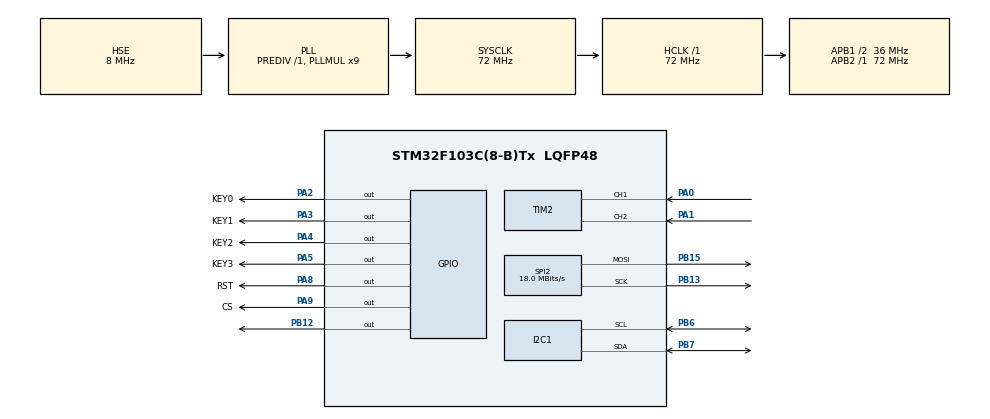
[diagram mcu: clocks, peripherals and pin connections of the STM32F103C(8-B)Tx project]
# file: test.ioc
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Dma.Request0=SPI2_TX
Dma.SPI2_TX.0.Direction=DMA_MEMORY_TO_PERIPH
Dma.SPI2_TX.0.Instance=DMA1_Channel5
Dma.SPI2_TX.0.MemDataAlignment=DMA_MDATAALIGN_BYTE
Dma.SPI2_TX.0.MemInc=DMA_MINC_ENABLE
Dma.SPI2_TX.0.Mode=DMA_NORMAL
Dma.SPI2_TX.0.PeriphDataAlignment=DMA_PDATAALIGN_BYTE
Dma.SPI2_TX.0.PeriphInc=DMA_PINC_DISABLE
Dma.SPI2_TX.0.Priority=DMA_PRIORITY_HIGH
FREERTOS.Tasks01=Task,24,128,StartDefaultTask,Default,NULL,Dynamic,NULL,NULL
Mcu.Family=STM32F1
Mcu.Name=STM32F103C(8-B)Tx
Mcu.Package=LQFP48
NVIC.DMA1_Channel5_IRQn=true\:5\:0\:false\:false\:true\:true\:false\:true\:true
NVIC.PriorityGroup=NVIC_PRIORITYGROUP_4
NVIC.SPI2_IRQn=true\:5\:0\:false\:false\:true\:true\:true\:true\:true
NVIC.TIM1_UP_IRQn=true\:5\:0\:false\:false\:true\:true\:true\:true\:true
NVIC.TIM4_IRQn=true\:15\:0\:false\:false\:true\:false\:false\:true\:true
NVIC.TimeBase=TIM4_IRQn
NVIC.TimeBaseIP=TIM4
PA0-WKUP.Signal=S_TIM2_CH1_ETR
PA1.Signal=S_TIM2_CH2
PA13.Mode=Serial_Wire
PA13.Signal=SYS_JTMS-SWDIO
PA14.Mode=Serial_Wire
PA14.Signal=SYS_JTCK-SWCLK
PA2.GPIO_Label=KEY0
PA2.GPIO_PuPd=GPIO_PULLUP
PA2.GPIO_Speed=GPIO_SPEED_FREQ_HIGH
PA2.PinState=GPIO_PIN_SET
PA2.Signal=GPIO_Output
PA3.GPIO_Label=KEY1
PA3.GPIO_PuPd=GPIO_PULLUP
PA3.GPIO_Speed=GPIO_SPEED_FREQ_HIGH
PA3.PinState=GPIO_PIN_SET
PA3.Signal=GPIO_Output
PA4.GPIO_Label=KEY2
PA4.GPIO_PuPd=GPIO_PULLUP
PA4.GPIO_Speed=GPIO_SPEED_FREQ_HIGH
PA4.PinState=GPIO_PIN_SET
PA4.Signal=GPIO_Output
PA5.GPIO_Label=KEY3
PA5.GPIO_PuPd=GPIO_PULLUP
PA5.GPIO_Speed=GPIO_SPEED_FREQ_HIGH
PA5.PinState=GPIO_PIN_SET
PA5.Signal=GPIO_Output
PA8.GPIO_Label=RST
PA8.GPIO_PuPd=GPIO_PULLUP
PA8.GPIO_Speed=GPIO_SPEED_FREQ_HIGH
PA8.PinState=GPIO_PIN_RESET
PA8.Signal=GPIO_Output
PA9.GPIO_Label=CS
PA9.GPIO_PuPd=GPIO_PULLUP
PA9.GPIO_Speed=GPIO_SPEED_FREQ_HIGH
PA9.Signal=GPIO_Output
PB12.GPIO_PuPd=GPIO_PULLUP
PB12.GPIO_Speed=GPIO_SPEED_FREQ_HIGH
PB12.Signal=GPIO_Output
PB13.Mode=TX_Only_Simplex_Unidirect_Master
PB13.Signal=SPI2_SCK
PB15.Mode=TX_Only_Simplex_Unidirect_Master
PB15.Signal=SPI2_MOSI
PB6.Mode=I2C
PB6.Signal=I2C1_SCL
PB7.Mode=I2C
PB7.Signal=I2C1_SDA
PD0-OSC_IN.Mode=HSE-External-Oscillator
PD0-OSC_IN.Signal=RCC_OSC_IN
PD1-OSC_OUT.Mode=HSE-External-Oscillator
PD1-OSC_OUT.Signal=RCC_OSC_OUT
ProjectManager.HeapSize=0x200
ProjectManager.StackSize=0x400
ProjectManager.TargetToolchain=MDK-ARM V5.32
RCC.AHBFreq_Value=72000000
RCC.APB1CLKDivider=RCC_HCLK_DIV2
RCC.APB1Freq_Value=36000000
RCC.APB1TimFreq_Value=72000000
RCC.APB2Freq_Value=72000000
RCC.APB2TimFreq_Value=72000000
RCC.HCLKFreq_Value=72000000
RCC.PLLMUL=RCC_PLL_MUL9
RCC.PLLSourceVirtual=RCC_PLLSOURCE_HSE
RCC.SYSCLKFreq_VALUE=72000000
RCC.SYSCLKSource=RCC_SYSCLKSOURCE_PLLCLK
RCC.USBFreq_Value=72000000
SH.S_TIM2_CH1_ETR.0=TIM2_CH1,Encoder_Interface
SH.S_TIM2_CH2.0=TIM2_CH2,Encoder_Interface
SPI2.BaudRatePrescaler=SPI_BAUDRATEPRESCALER_2
SPI2.CalculateBaudRate=18.0 MBits/s
SPI2.Direction=SPI_DIRECTION_2LINES
SPI2.Mode=SPI_MODE_MASTER
SPI2.VirtualType=VM_MASTER
TIM1.Period=999
TIM1.Prescaler=71
VP_FREERTOS_VS_CMSIS_V2.Mode=CMSIS_V2
VP_SYS_VS_tim4.Mode=TIM4
VP_TIM1_VS_ClockSourceINT.Mode=Internal
board=custom

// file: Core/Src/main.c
/* USER CODE BEGIN Header */
/**
  ******************************************************************************
  * @file           : main.c
  * @brief          : Main program body
  ******************************************************************************
  * @attention
  *
  * Copyright (c) 2026 STMicroelectronics.
  * All rights reserved.
  *
  * This software is licensed under terms that can be found in the LICENSE file
  * in the root directory of this software component.
  * If no LICENSE file comes with this software, it is provided AS-IS.
  *
  ******************************************************************************
  */
/* USER CODE END Header */
#include "main.h"
#include "cmsis_os.h"
#include "dma.h"
#include "i2c.h"
#include "spi.h"
#include "tim.h"
#include "gpio.h"

/* USER CODE BEGIN Includes */

#include "dri_oled.h"
#include "ui.h"
#include "test.h"
#include "OLED_UI.h"
#include "OLED_UI_MenuData.h"

/* USER CODE END Includes */

/* USER CODE BEGIN PD */
uint16_t number=0;
unsigned char buf[32];

uint32_t fps_cnt = 0;          // OLED??′???
uint32_t fps_timer = 0;        // 1ms?????????
float OLED_fps ;            // ????FPS
char fps_str[16];              // ????????
/* USER CODE END PD */

void SystemClock_Config(void);
void MX_FREERTOS_Init(void);

int main(void)
{

  /* MCU Configuration--------------------------------------------------------*/

  /* Reset of all peripherals, Initializes the Flash interface and the Systick. */
  HAL_Init();

  /* Configure the system clock */
  SystemClock_Config();

  /* Initialize all configured peripherals */
  MX_GPIO_Init();
  MX_DMA_Init();
  MX_I2C1_Init();
  MX_SPI2_Init();
  MX_TIM1_Init();
  MX_TIM2_Init();
  /* USER CODE BEGIN 2 */

	 // 启动 TIM1（必须加！）
  HAL_TIM_Base_Start_IT(&htim1);
  // OLED
  HAL_Delay(20);
  OLED_Init();
	OLED_Refresh();

	OLED_UI_Init(&MainMenuPage);

  /* USER CODE END 2 */

  /* Init scheduler */
//  osKernelInitialize();  /* Call init function for freertos objects (in cmsis_os2.c) */
//  MX_FREERTOS_Init();

//  /* Start scheduler */
//  osKernelStart();

  /* We should never get here as control is now taken by the scheduler */

  /* Infinite loop */
  /* USER CODE BEGIN WHILE */
  while (1)
  {

		OLED_UI_MainLoop();

    /* USER CODE END WHILE */

  }
}

void SystemClock_Config(void)
{
  RCC_OscInitTypeDef RCC_OscInitStruct = {0};
  RCC_ClkInitTypeDef RCC_ClkInitStruct = {0};

  /** Initializes the RCC Oscillators according to the specified parameters
  * in the RCC_OscInitTypeDef structure.
  */
  RCC_OscInitStruct.OscillatorType = RCC_OSCILLATORTYPE_HSE;
  RCC_OscInitStruct.HSEState = RCC_HSE_ON;
  RCC_OscInitStruct.HSEPredivValue = RCC_HSE_PREDIV_DIV1;
  RCC_OscInitStruct.HSIState = RCC_HSI_ON;
  RCC_OscInitStruct.PLL.PLLState = RCC_PLL_ON;
  RCC_OscInitStruct.PLL.PLLSource = RCC_PLLSOURCE_HSE;
  RCC_OscInitStruct.PLL.PLLMUL = RCC_PLL_MUL9;
  if (HAL_RCC_OscConfig(&RCC_OscInitStruct) != HAL_OK)
  {
    Error_Handler();
  }

  /** Initializes the CPU, AHB and APB buses clocks
  */
  RCC_ClkInitStruct.ClockType = RCC_CLOCKTYPE_HCLK|RCC_CLOCKTYPE_SYSCLK
                              |RCC_CLOCKTYPE_PCLK1|RCC_CLOCKTYPE_PCLK2;
  RCC_ClkInitStruct.SYSCLKSource = RCC_SYSCLKSOURCE_PLLCLK;
  RCC_ClkInitStruct.AHBCLKDivider = RCC_SYSCLK_DIV1;
  RCC_ClkInitStruct.APB1CLKDivider = RCC_HCLK_DIV2;
  RCC_ClkInitStruct.APB2CLKDivider = RCC_HCLK_DIV1;

  if (HAL_RCC_ClockConfig(&RCC_ClkInitStruct, FLASH_LATENCY_2) != HAL_OK)
  {
    Error_Handler();
  }
}

void HAL_TIM_PeriodElapsedCallback(TIM_HandleTypeDef *htim)
{
  /* USER CODE BEGIN Callback 0 */
	// 判断是否是 TIM1 中断
  if(htim->Instance == TIM1)
  {

    fps_timer++;

    // 1 秒到了，计算 FPS
    if(fps_timer >= 20)
    {
//      OLED_fps = fps_cnt;  // 1秒刷新多少次 = FPS
//      fps_cnt = 0;         // 清零
			OLED_UI_InterruptHandler();
      fps_timer = 0;         // 重新计时
    }
  }

  /* USER CODE END Callback 0 */
  if (htim->Instance == TIM4)
  {
    HAL_IncTick();
  }
}

void Error_Handler(void)
{
  __disable_irq();
  while (1)
  {
  }
}
